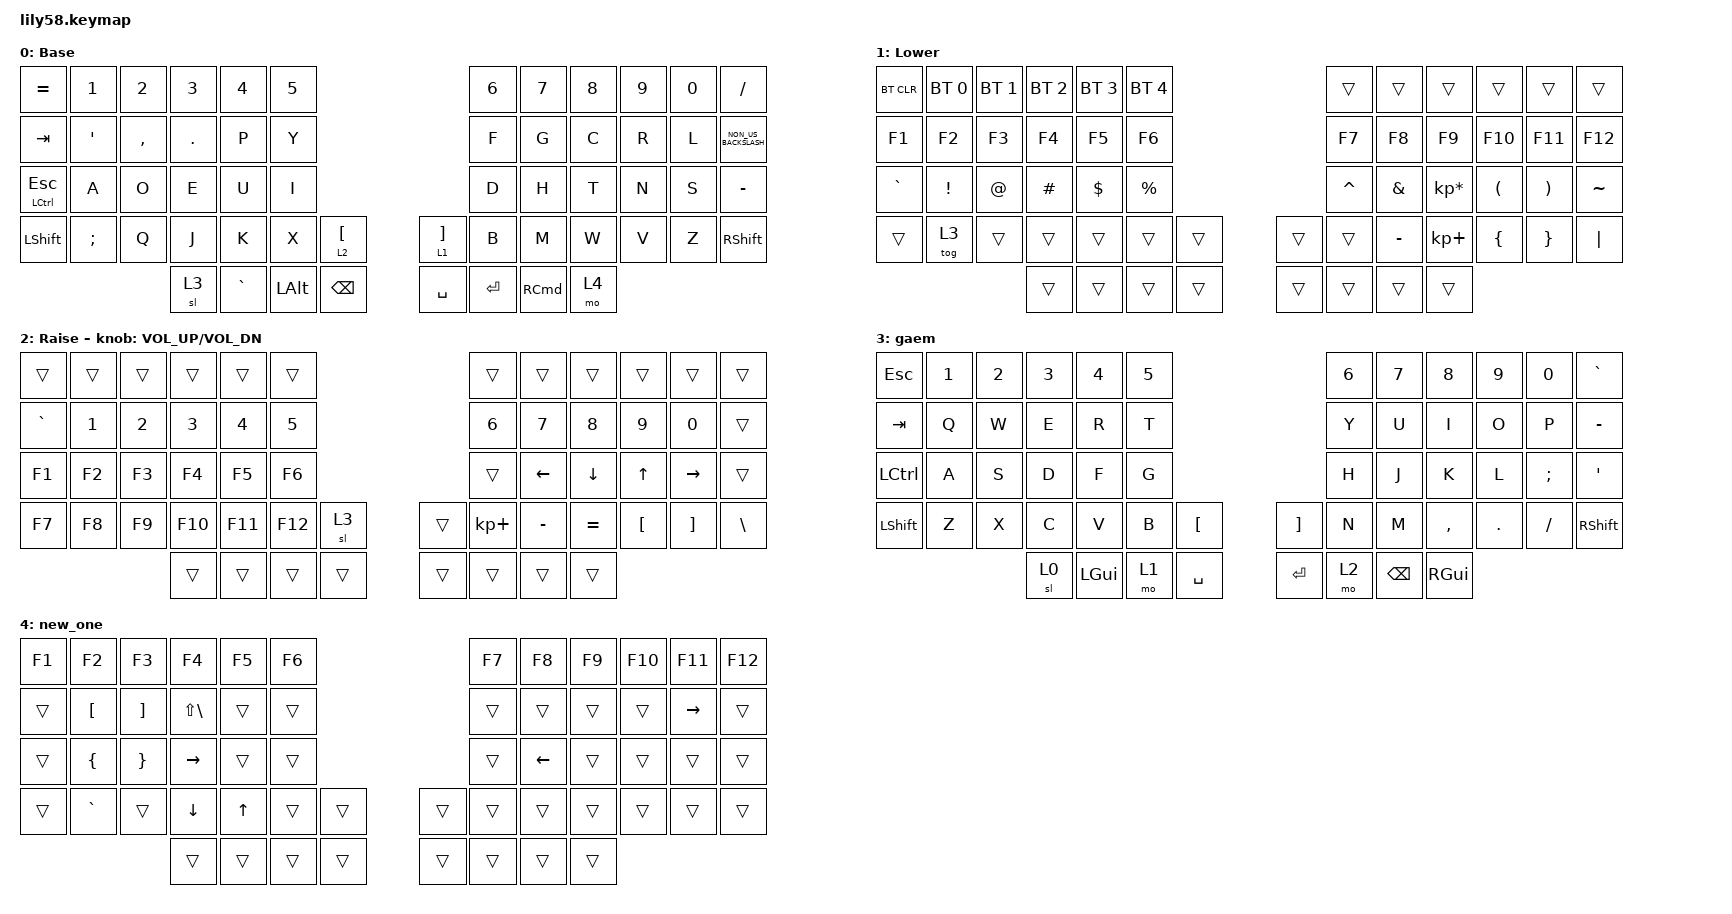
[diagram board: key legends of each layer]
/*
 * Copyright (c) 2020 The ZMK Contributors
 *
 * SPDX-License-Identifier: MIT
 */

#include <behaviors.dtsi>
#include <dt-bindings/zmk/bt.h>
#include <dt-bindings/zmk/keys.h>

/ {
    keymap {
        compatible = "zmk,keymap";

        default_layer {
            // ------------------------------------------------------------------------------------------------------------
            // |  ESC  |  1  |  2  |  3   |  4   |  5   |                   |  6   |  7    |  8    |  9   |   0   |   `   |
            // |  TAB  |  Q  |  W  |  E   |  R   |  T   |                   |  Y   |  U    |  I    |  O   |   P   |   -   |
            // |  CTRL |  A  |  S  |  D   |  F   |  G   |                   |  H   |  J    |  K    |  L   |   ;   |   '   |
            // | SHIFT |  Z  |  X  |  C   |  V   |  B   |   "["  |  |  "]"  |  N   |  M    |  ,    |  .   |   /   | SHIFT |
            //                     | ALT  | GUI  | LOWER|  SPACE |  | ENTER | RAISE| BSPC  | GUI   |

            display-name = "Base";
            bindings = <
&kp EQUAL         &kp N1         &kp N2     &kp N3      &kp N4     &kp N5                                                   &kp N6     &kp N7    &kp N8  &kp N9  &kp N0  &kp SLASH
&kp TAB           &kp SQT        &kp COMMA  &kp PERIOD  &kp P      &kp Y                                                    &kp F      &kp G     &kp C   &kp R   &kp L   &kp NON_US_BACKSLASH
&mt LCTRL ESCAPE  &kp A          &kp O      &kp E       &kp U      &kp I                                                    &kp D      &kp H     &kp T   &kp N   &kp S   &kp MINUS
&kp LEFT_SHIFT    &kp SEMICOLON  &kp Q      &kp J       &kp K      &kp X         &lt 2 LEFT_BRACKET    &lt 1 RIGHT_BRACKET  &kp B      &kp M     &kp W   &kp V   &kp Z   &kp RSHFT
                                            &sl 3       &kp GRAVE  &kp LEFT_ALT  &kp BACKSPACE         &kp SPACE            &kp ENTER  &kp RCMD  &mo 4
            >;
        };

        lower_layer {
            // ------------------------------------------------------------------------------------------------------------
            // | BTCLR | BT1 | BT2 |  BT3 |  BT4 |  BT5 |                   |      |       |       |      |       |       |
            // |  F1   |  F2 |  F3 |  F4  |  F5  |  F6  |                   |  F7  |  F8   |  F9   |  F10 |  F11  |  F12  |
            // |   `   |  !  |  @  |  #   |  $   |  %   |                   |  ^   |  &    |  *    |  (   |   )   |   ~   |
            // |       |     |     |      |      |      |        |  |       |      |  _    |  +    |  {   |   }   |  "|"  |
            //                     |      |      |      |        |  |       |      |       |       |

            display-name = "Lower";
            bindings = <
&bt BT_CLR  &bt BT_SEL 0  &bt BT_SEL 1  &bt BT_SEL 2  &bt BT_SEL 3  &bt BT_SEL 4                    &trans     &trans     &trans           &trans    &trans    &trans
&kp F1      &kp F2        &kp F3        &kp F4        &kp F5        &kp F6                          &kp F7     &kp F8     &kp F9           &kp F10   &kp F11   &kp F12
&kp GRAVE   &kp EXCL      &kp AT        &kp HASH      &kp DOLLAR    &kp PRCNT                       &kp CARET  &kp AMPS   &kp KP_MULTIPLY  &kp LPAR  &kp RPAR  &kp TILDE
&trans      &tog 3        &trans        &trans        &trans        &trans        &trans    &trans  &trans     &kp MINUS  &kp KP_PLUS      &kp LBRC  &kp RBRC  &kp PIPE
                                        &trans        &trans        &trans        &trans    &trans  &trans     &trans     &trans
            >;
        };

        raise_layer {
            // ------------------------------------------------------------------------------------------------------------
            // |       |     |     |      |      |      |                   |      |       |       |      |       |       |
            // |   `   |  1  |  2  |  3   |  4   |  5   |                   |  6   |   7   |   8   |  9   |   0   |       |
            // |   F1  |  F2 |  F3 |  F4  |  F5  |  F6  |                   |      |   <-  |   v   |  ^   |  ->   |       |
            // |   F7  |  F8 |  F9 |  F10 |  F11 |  F12 |        |  |       |  +   |   -   |   =   |  [   |   ]   |   \   |
            //                     |      |      |      |        |  |       |      |       |       |

            display-name = "Raise";
            bindings = <
&trans     &trans  &trans  &trans   &trans   &trans                     &trans       &trans     &trans     &trans    &trans     &trans
&kp GRAVE  &kp N1  &kp N2  &kp N3   &kp N4   &kp N5                     &kp N6       &kp N7     &kp N8     &kp N9    &kp N0     &trans
&kp F1     &kp F2  &kp F3  &kp F4   &kp F5   &kp F6                     &trans       &kp LEFT   &kp DOWN   &kp UP    &kp RIGHT  &trans
&kp F7     &kp F8  &kp F9  &kp F10  &kp F11  &kp F12  &sl 3     &trans  &kp KP_PLUS  &kp MINUS  &kp EQUAL  &kp LBKT  &kp RBKT   &kp BSLH
                           &trans   &trans   &trans   &trans    &trans  &trans       &trans     &trans
            >;

            sensor-bindings = <&inc_dec_kp C_VOL_UP C_VOL_DN>;
        };

        qwerty {
            display-name = "gaem";
            bindings = <
&kp ESC    &kp N1  &kp N2  &kp N3  &kp N4    &kp N5                         &kp N6  &kp N7    &kp N8     &kp N9   &kp N0    &kp GRAVE
&kp TAB    &kp Q   &kp W   &kp E   &kp R     &kp T                          &kp Y   &kp U     &kp I      &kp O    &kp P     &kp MINUS
&kp LCTRL  &kp A   &kp S   &kp D   &kp F     &kp G                          &kp H   &kp J     &kp K      &kp L    &kp SEMI  &kp SQT
&kp LSHFT  &kp Z   &kp X   &kp C   &kp V     &kp B   &kp LBKT     &kp RBKT  &kp N   &kp M     &kp COMMA  &kp DOT  &kp FSLH  &kp RSHFT
                           &sl 0   &kp LGUI  &mo 1   &kp SPACE    &kp RET   &mo 2   &kp BSPC  &kp RGUI
            >;
        };

        new_one {
            bindings = <
&kp F1  &kp F2            &kp F3             &kp F4             &kp F5        &kp F6                    &kp F7  &kp F8    &kp F9  &kp F10  &kp F11    &kp F12
&trans  &kp LEFT_BRACKET  &kp RIGHT_BRACKET  &kp LS(BACKSLASH)  &trans        &trans                    &trans  &trans    &trans  &trans   &kp RIGHT  &trans
&trans  &kp LEFT_BRACE    &kp RIGHT_BRACE    &kp RIGHT          &trans        &trans                    &trans  &kp LEFT  &trans  &trans   &trans     &trans
&trans  &kp GRAVE         &trans             &kp DOWN           &kp UP_ARROW  &trans  &trans    &trans  &trans  &trans    &trans  &trans   &trans     &trans
                                             &trans             &trans        &trans  &trans    &trans  &trans  &trans    &trans
            >;
        };
    };
};
